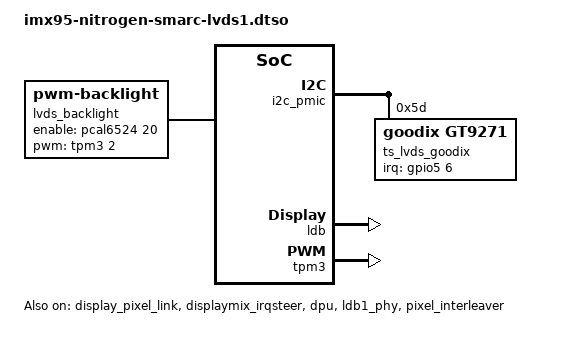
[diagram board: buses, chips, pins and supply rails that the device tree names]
// SPDX-License-Identifier: (GPL-2.0+ OR MIT)
/*
 * Copyright 2024 Ezurio LLC
 */

/dts-v1/;
/plugin/;

#include <dt-bindings/clock/fsl,imx95-clock.h>
#include <dt-bindings/gpio/gpio.h>
#include <dt-bindings/interrupt-controller/irq.h>

#include "imx95-pinfunc.h"

&{/} {
	lvds_backlight: lvds-backlight {
		brightness-levels = <0 1 2 3 4 5 6 7 8 9 10>;
		compatible = "pwm-backlight";
		default-brightness-level = <8>;
		enable-gpios = <&pcal6524 20 GPIO_ACTIVE_HIGH>;
		pwms = <&tpm3 2 30000 0>;
	};
};

&{/soc/} {
	lvds-panel {
		compatible = "boundary,bd070-101"; /* For BD070LIC3 and BD101LCC3 */
		backlight = <&lvds_backlight>;

		port {
			panel_lvds_in: endpoint {
				remote-endpoint = <&lvds1_out>;
			};
		};
	};
};

&display_pixel_link {
	status = "okay";
};

&displaymix_irqsteer {
	status = "okay";
};

&dpu {
	status = "okay";
};

&i2c_pmic {
	ts_lvds_goodix: touchscreen@5d {
		compatible = "goodix,gt9271";
		reg = <0x5d>;
		pinctrl-names = "default";
		pinctrl-0 = <&pinctrl_lvds_goodix>;
		interrupts-extended = <&gpio5 6 IRQ_TYPE_LEVEL_HIGH>;
		irq-gpios = <&gpio5 6 GPIO_ACTIVE_HIGH>;
		status = "okay";
	};
};

&ldb {
	#address-cells = <1>;
	#size-cells = <0>;
	assigned-clocks = <&scmi_clk IMX95_CLK_LDBPLL_VCO>,
			  <&scmi_clk IMX95_CLK_LDBPLL>;
	assigned-clock-rates = <2986200000>, <497700000>;
	status = "okay";

	channel@1 {
		#address-cells = <1>;
		#size-cells = <0>;
		reg = <1>;
		status = "okay";

		port@1 {
			reg = <1>;

			lvds1_out: endpoint {
				remote-endpoint = <&panel_lvds_in>;
			};
		};
	};
};

&ldb1_phy {
	status = "okay";
};

&pixel_interleaver {
	#address-cells = <1>;
	#size-cells = <0>;
	status = "okay";

	channel@1 {
		reg = <1>;
		status = "okay";
	};
};

&tpm3 {
	status = "okay";
};

&scmi_iomuxc {
	pinctrl_lvds_goodix: lvds-goodixgrp {
		fsl,pins = <
			IMX95_PAD_XSPI1_DATA6__GPIO5_IO_BIT6	0x37e
		>;
	};
};
